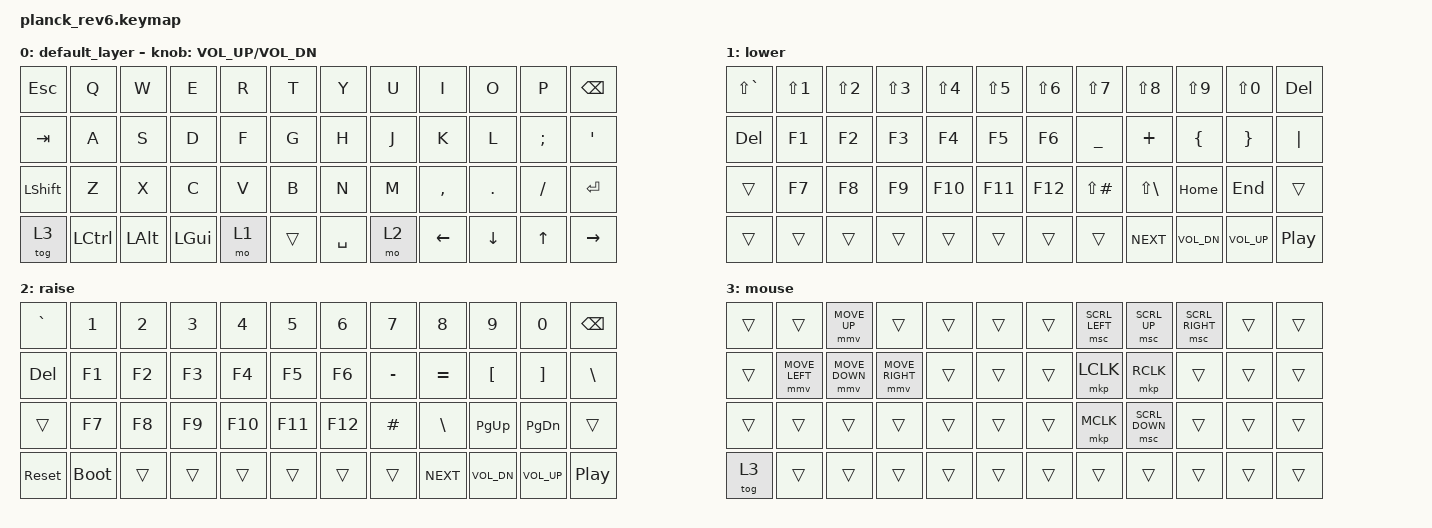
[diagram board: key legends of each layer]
/*
 * Copyright (c) 2020 The ZMK Contributors
 *
 * SPDX-License-Identifier: MIT
 */

#include <behaviors.dtsi>
#include <dt-bindings/zmk/keys.h>
#include <dt-bindings/zmk/mouse.h>

/* Uncomment this block if using an encoder */
//&encoder {
//    status = "okay";
//};

/ {
    keymap {
        compatible = "zmk,keymap";

        default_layer {
            // -----------------------------------------------------------------------------------------
            // |  ESC  |  Q   |  W   |  E   |  R   |  T   |   Y   |  U    |  I   |  O   |   P   | BSPC  |
            // |  TAB  |  A   |  S   |  D   |  F   |  G   |   H   |  J    |  K   |  L   |   ;   |  '    |
            // | SHIFT |  Z   |  X   |  C   |  V   |  B   |   N   |  M    |  ,   |  .   |   /   |  RET  |
            // | RAIS2 | LCTRL | LALT | LGUI | LOWR |     SPACE    |  RAIS | LEFT | DOWN | UP  |  RIGHT |
            bindings = <
                &kp ESC  &kp Q    &kp W &kp E &kp R &kp T  &kp Y   &kp U  &kp I    &kp O   &kp P    &kp BSPC
                &kp TAB  &kp A    &kp S &kp D &kp F &kp G  &kp H   &kp J  &kp K    &kp L   &kp SEMI &kp SQT
                &kp LSHFT &kp Z    &kp X &kp C &kp V &kp B  &kp N   &kp M  &kp COMMA &kp DOT &kp SLASH &kp RET
                &tog 3   &kp LCTRL &kp LALT &kp LGUI &mo 1 &trans &kp SPACE &mo 2 &kp LEFT &kp DOWN &kp UP &kp RIGHT
            >;
            sensor-bindings = <&inc_dec_kp C_VOL_UP C_VOL_DN>;
        };

        lower {
            bindings = <
                &kp LS(GRAVE) &kp LS(N1) &kp LS(N2) &kp LS(N3) &kp LS(N4) &kp LS(N5) &kp LS(N6) &kp LS(N7) &kp LS(N8) &kp LS(N9) &kp LS(N0) &kp DEL
                &kp DEL &kp F1 &kp F2 &kp F3 &kp F4 &kp F5 &kp F6 &kp UNDER &kp PLUS &kp LBRC &kp RBRC &kp PIPE
                &trans &kp F7 &kp F8 &kp F9 &kp F10 &kp F11 &kp F12 &kp LS(HASH) &kp LS(BSLH) &kp HOME &kp END &trans
                &trans &trans &trans &trans &trans &trans &trans &trans &kp C_NEXT &kp C_VOL_DN &kp C_VOL_UP &kp C_PP
            >;
        };

        raise {
            bindings = <
                &kp GRAVE &kp N1 &kp N2 &kp N3 &kp N4 &kp N5 &kp N6 &kp N7 &kp N8 &kp N9 &kp N0 &kp BSPC
                &kp DEL &kp F1 &kp F2 &kp F3 &kp F4 &kp F5 &kp F6 &kp MINUS &kp EQUAL &kp LBKT &kp RBKT &kp BSLH
                &trans &kp F7 &kp F8 &kp F9 &kp F10 &kp F11 &kp F12 &kp HASH &kp BSLH &kp PG_UP &kp PG_DN &trans
                &sys_reset &bootloader &trans &trans &trans &trans &trans &trans &kp C_NEXT &kp C_VOL_DN &kp C_VOL_UP &kp C_PP
            >;
        };
        mouse {
            bindings = <
                &trans &trans &mmv MOVE_UP &trans &trans &trans &trans &msc SCRL_LEFT &msc SCRL_UP &msc SCRL_RIGHT &trans &trans
                &trans &mmv MOVE_LEFT &mmv MOVE_DOWN &mmv MOVE_RIGHT &trans &trans &trans &mkp LCLK &mkp RCLK &trans &trans &trans
                &trans &trans &trans &trans &trans &trans &trans &mkp MCLK &msc SCRL_DOWN &trans &trans &trans
                &tog 3 &trans &trans &trans &trans &trans &trans &trans &trans &trans &trans &trans
            >;
        };
    };
};
